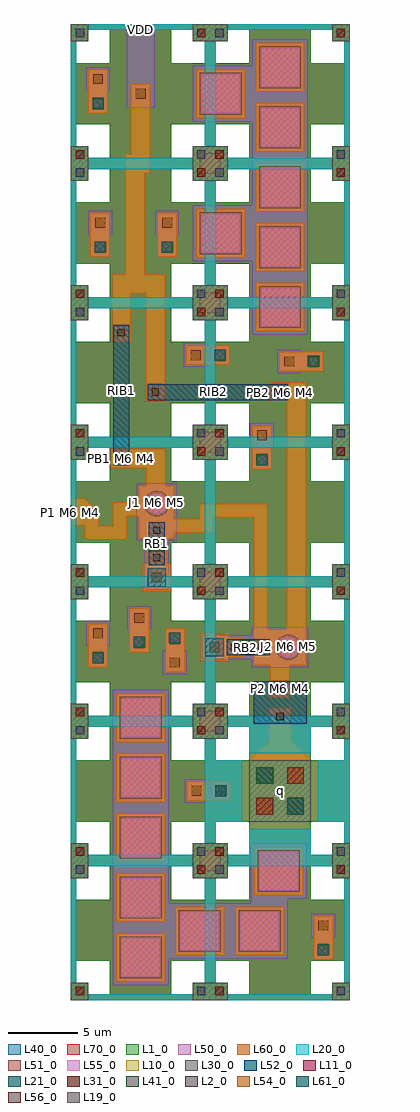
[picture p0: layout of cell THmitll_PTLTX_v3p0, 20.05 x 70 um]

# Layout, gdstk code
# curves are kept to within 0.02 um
from math import pi, radians
import gdstk
lib = gdstk.Library(unit=1e-6, precision=1e-09)
def R(c, l, rs):  # rectangles x0, y0, x1, y1
    for r in rs: c.add(gdstk.rectangle(r[:2], r[2:], *l))
def P(c, l, *ps):  # polygons
    for p in ps: c.add(gdstk.Polygon(p, *l))
L1_0 = (1, 0)
L2_0 = (2, 0)
L10_0 = (10, 0)
L11_0 = (11, 0)
L19_0 = (19, 0)
L20_0 = (20, 0)
L21_0 = (21, 0)
L30_0 = (30, 0)
L31_0 = (31, 0)
L40_0 = (40, 0)
L41_0 = (41, 0)
L50_0 = (50, 0)
L51_0 = (51, 0)
L52_0 = (52, 0)
L54_0 = (54, 0)
L55_0 = (55, 0)
L56_0 = (56, 0)
L60_0 = (60, 0)
L61_0 = (61, 0)
L70_0 = (70, 0)

ls_tr_m7 = lib.new_cell('ls_tr_M7')
P(ls_tr_m7, L70_0, [(0,0),(0,10),(1.25,10),(1.25,8.75),(0.4,8.75),(0.4,1.25),(1.25,1.25),(1.25,0.4),(2.8,0.4),(2.8,2.8),(0.4,2.8),(0.4,7.2),(2.8,7.2),(2.8,9.6),(1.25,9.6),(1.25,10),(7.2,10),(7.2,0.4),(8.75,0.4),(8.75,1.25),(9.6,1.25),(9.6,2.8),(7.2,2.8),(7.2,7.2),(9.6,7.2),(9.6,8.75),(8.75,8.75),(8.75,9.6),(7.2,9.6),(7.2,10),(10,10),(10,0)])

ls_tr_u_m4 = lib.new_cell('ls_tr_u_M4')
P(ls_tr_u_m4, L1_0, [(0,0),(0,10),(1.25,10),(1.25,8.75),(0.4,8.75),(0.4,1.25),(1.25,1.25),(1.25,0.4),(2.8,0.4),(2.8,2.8),(0.4,2.8),(0.4,7.2),(2.8,7.2),(2.8,9.6),(1.25,9.6),(1.25,10),(7.2,10),(7.2,0.4),(8.75,0.4),(8.75,1.25),(9.6,1.25),(9.6,2.8),(7.2,2.8),(7.2,7.2),(9.6,7.2),(9.6,8.75),(8.75,8.75),(8.75,9.6),(7.2,9.6),(7.2,10),(10,10),(10,0)])
R(ls_tr_u_m4, L2_0, [(9.05,0.35,9.65,0.95), (0.35,9.05,0.95,9.65)])
R(ls_tr_u_m4, L10_0, [(0,0,1.25,1.25), (8.75,0,10,1.25), (0,8.75,1.25,10), (8.75,8.75,10,10)])
R(ls_tr_u_m4, L11_0, [(0.35,0.35,0.95,0.95), (9.05,9.05,9.65,9.65)])
P(ls_tr_u_m4, L20_0, [(0,0),(0,10),(1.25,10),(1.25,8.75),(0.4,8.75),(0.4,1.25),(1.25,1.25),(1.25,0.4),(8.75,0.4),(8.75,1.25),(9.6,1.25),(9.6,8.75),(8.75,8.75),(8.75,9.6),(1.25,9.6),(1.25,10),(10,10),(10,0)])
R(ls_tr_u_m4, L21_0, [(9.05,0.35,9.65,0.95), (0.35,9.05,0.95,9.65)])
R(ls_tr_u_m4, L30_0, [(0,0,1.25,1.25), (8.75,0,10,1.25), (0,8.75,1.25,10), (8.75,8.75,10,10)])
R(ls_tr_u_m4, L31_0, [(0.35,0.35,0.95,0.95), (9.05,9.05,9.65,9.65)])
P(ls_tr_u_m4, L40_0, [(0,0),(0,10),(1.25,10),(1.25,8.75),(0.4,8.75),(0.4,1.25),(1.25,1.25),(1.25,0.4),(2.8,0.4),(2.8,2.8),(0.4,2.8),(0.4,7.2),(2.8,7.2),(2.8,9.6),(1.25,9.6),(1.25,10),(7.2,10),(7.2,0.4),(8.75,0.4),(8.75,1.25),(9.6,1.25),(9.6,2.8),(7.2,2.8),(7.2,7.2),(9.6,7.2),(9.6,8.75),(8.75,8.75),(8.75,9.6),(7.2,9.6),(7.2,10),(10,10),(10,0)])
ls_tr_u_m4.add(gdstk.Reference(ls_tr_m7, (0,0)))

ls_tr_ptl_conn = lib.new_cell('ls_tr_PTL_conn')
P(ls_tr_ptl_conn, L1_0, [(0,0),(0,10),(1.25,10),(1.25,8.75),(0.4,8.75),(0.4,1.25),(1.25,1.25),(1.25,0.4),(2.8,0.4),(2.8,2.8),(0.4,2.8),(0.4,7.2),(2.8,7.2),(2.8,9.6),(1.25,9.6),(1.25,10),(7.2,10),(7.2,0.4),(8.75,0.4),(8.75,1.25),(9.6,1.25),(9.6,2.8),(7.2,2.8),(7.2,7.2),(9.6,7.2),(9.6,8.75),(8.75,8.75),(8.75,9.6),(7.2,9.6),(7.2,10),(10,10),(10,0)])
R(ls_tr_ptl_conn, L2_0, [(9.05,0.35,9.65,0.95), (0.35,9.05,0.95,9.65)])
R(ls_tr_ptl_conn, L10_0, [(0,0,1.25,1.25), (8.75,0,10,1.25), (2.8,2.8,7.2,7.2), (0,8.75,1.25,10), (8.75,8.75,10,10)])
R(ls_tr_ptl_conn, L11_0, [(0.35,0.35,0.95,0.95), (3.3,3.3,4.5,4.5), (5.5,5.5,6.7,6.7), (9.05,9.05,9.65,9.65)])
R(ls_tr_ptl_conn, L20_0, [(2.8,2.8,7.2,7.2)])
P(ls_tr_ptl_conn, L20_0, [(0,0),(0,10),(7.2,10),(7.2,7.7),(2.8,7.7),(2.8,9.6),(1.25,9.6),(1.25,8.75),(0.4,8.75),(0.4,7.2),(2.3,7.2),(2.3,2.8),(0.4,2.8),(0.4,1.25),(1.25,1.25),(1.25,0.4),(2.8,0.4),(2.8,2.3),(7.2,2.3),(7.2,0.4),(8.75,0.4),(8.75,1.25),(9.6,1.25),(9.6,2.8),(7.7,2.8),(7.7,7.2),(9.6,7.2),(9.6,8.75),(8.75,8.75),(8.75,9.6),(7.2,9.6),(7.2,10),(10,10),(10,0)])
R(ls_tr_ptl_conn, L21_0, [(9.05,0.35,9.65,0.95), (5.5,3.3,6.7,4.5), (3.3,5.5,4.5,6.7), (0.35,9.05,0.95,9.65)])
R(ls_tr_ptl_conn, L30_0, [(0,0,1.25,1.25), (8.75,0,10,1.25), (2.8,2.8,7.2,7.2), (0,8.75,1.25,10), (8.75,8.75,10,10)])
R(ls_tr_ptl_conn, L31_0, [(0.35,0.35,0.95,0.95), (3.3,3.3,4.5,4.5), (5.5,5.5,6.7,6.7), (9.05,9.05,9.65,9.65)])
R(ls_tr_ptl_conn, L40_0, [(2.8,2.8,7.2,7.2)])
P(ls_tr_ptl_conn, L40_0, [(0,0),(0,10),(7.2,10),(7.2,7.7),(2.8,7.7),(2.8,9.6),(1.25,9.6),(1.25,8.75),(0.4,8.75),(0.4,7.2),(2.3,7.2),(2.3,2.8),(0.4,2.8),(0.4,1.25),(1.25,1.25),(1.25,0.4),(2.8,0.4),(2.8,2.3),(7.2,2.3),(7.2,0.4),(8.75,0.4),(8.75,1.25),(9.6,1.25),(9.6,2.8),(7.7,2.8),(7.7,7.2),(9.6,7.2),(9.6,8.75),(8.75,8.75),(8.75,9.6),(7.2,9.6),(7.2,10),(10,10),(10,0)])
R(ls_tr_ptl_conn, L41_0, [(5.5,3.3,6.7,4.5), (3.3,5.5,4.5,6.7)])
R(ls_tr_ptl_conn, L50_0, [(2.8,2.8,7.2,7.2)])
R(ls_tr_ptl_conn, L54_0, [(3.3,3.3,4.5,4.5), (5.5,5.5,6.7,6.7)])
R(ls_tr_ptl_conn, L60_0, [(2.8,2.8,7.2,7.2)])
P(ls_tr_ptl_conn, L70_0, [(0,0),(0,10),(1.25,10),(1.25,8.75),(0.4,8.75),(0.4,1.25),(1.25,1.25),(1.25,0.4),(2.8,0.4),(2.8,2.8),(0.4,2.8),(0.4,7.2),(2.8,7.2),(2.8,9.6),(1.25,9.6),(1.25,10),(7.2,10),(7.2,0.4),(8.75,0.4),(8.75,1.25),(9.6,1.25),(9.6,2.8),(7.2,2.8),(7.2,7.2),(9.6,7.2),(9.6,8.75),(8.75,8.75),(8.75,9.6),(7.2,9.6),(7.2,10),(10,10),(10,0)])

ls_conn_m5m6 = lib.new_cell('ls_conn_M5M6')
R(ls_conn_m5m6, L50_0, [(0,0,1.7,1.7)])
R(ls_conn_m5m6, L54_0, [(0.5,0.5,1.2,1.2)])
R(ls_conn_m5m6, L60_0, [(0.15,0.15,1.55,1.55)])

ls_res_1p36 = lib.new_cell('ls_res_1p36')
R(ls_res_1p36, L52_0, [(-1.9,0,1.9,3.05)])
R(ls_res_1p36, L56_0, [(-0.26,0.29,0.26,0.81), (-0.26,2.25,0.26,2.77)])
R(ls_res_1p36, L60_0, [(-0.625,-0.1,0.625,1.175), (-0.625,1.875,0.625,3.15)])

ls_conn_m5m6m7 = lib.new_cell('ls_conn_M5M6M7')
R(ls_conn_m5m6m7, L60_0, [(-0.65,-0.65,1.35,1.35)])
R(ls_conn_m5m6m7, L61_0, [(-0.3,-0.3,1,1)])
R(ls_conn_m5m6m7, L70_0, [(-0.65,-0.65,1.35,1.35)])

th_jj_250_sg = lib.new_cell('th_jj_250_sg')
R(th_jj_250_sg, L41_0, [(-0.5,2.4,0.5,3.4)])
R(th_jj_250_sg, L50_0, [(-1.425,-1.425,1.425,2.625), (-0.875,2.625,0.875,6.175)])
P(th_jj_250_sg, L51_0, [(0,-0.91),(-0.18,-0.895),(-0.35,-0.84),(-0.645,-0.645),(-0.84,-0.35),(-0.91,0),(-0.895,0.18),(-0.84,0.35),(-0.645,0.645),(-0.35,0.84),(-0.18,0.895),(0,0.91),(0.18,0.895),(0.35,0.84),(0.645,0.645),(0.84,0.35),(0.895,0.18),(0.91,0),(0.84,-0.35),(0.645,-0.645),(0.35,-0.84),(0.18,-0.895)])
R(th_jj_250_sg, L52_0, [(-0.575,1.35,0.575,4.425)])
R(th_jj_250_sg, L54_0, [(-0.35,4.95,0.35,5.65)])
P(th_jj_250_sg, L55_0, [(0,-0.76),(-0.15,-0.75),(-0.29,-0.7),(-0.54,-0.54),(-0.7,-0.29),(-0.75,-0.15),(-0.76,0),(-0.75,0.15),(-0.7,0.29),(-0.54,0.54),(-0.29,0.7),(-0.15,0.75),(0,0.76),(0.15,0.75),(0.29,0.7),(0.54,0.54),(0.7,0.29),(0.75,0.15),(0.76,0),(0.75,-0.15),(0.7,-0.29),(0.54,-0.54),(0.29,-0.7),(0.15,-0.75)])
R(th_jj_250_sg, L56_0, [(-0.26,1.64,0.26,2.16), (-0.26,3.63,0.26,4.15)])
R(th_jj_250_sg, L60_0, [(-1.275,-1.275,1.275,2.525), (-0.725,3.25,0.725,6.025)])
th_jj_250_sg.add(gdstk.Reference(ls_conn_m5m6m7, (0.35,5.65), rotation=pi))

th_ib_175 = lib.new_cell('th_ib_175')
R(th_ib_175, L52_0, [(-0.575,0,0.575,10.05)])
R(th_ib_175, L56_0, [(-0.26,0.29,0.26,0.81), (-0.26,9.26,0.26,9.78)])
R(th_ib_175, L60_0, [(-0.625,-0.1,0.625,1.175), (-0.625,8.9,0.625,10.15)])

ls_fakejj_3umx3um = lib.new_cell('ls_FakeJJ_3umx3um')
R(ls_fakejj_3umx3um, L40_0, [(-2,-2,2,2)])
R(ls_fakejj_3umx3um, L50_0, [(-2,-2,2,2)])
R(ls_fakejj_3umx3um, L51_0, [(-1.5,-1.5,1.5,1.5)])
R(ls_fakejj_3umx3um, L55_0, [(-1.4,-1.4,1.4,1.4)])
R(ls_fakejj_3umx3um, L60_0, [(-1.75,-1.75,1.75,1.75)])

ls_conn_m4m5m6m7 = lib.new_cell('ls_conn_M4M5M6M7')
R(ls_conn_m4m5m6m7, L40_0, [(0,0,1.4,1.4)])
R(ls_conn_m4m5m6m7, L41_0, [(0.3,0.3,1.1,1.1)])
P(ls_conn_m4m5m6m7, L50_0, [(1.6,-0.15),(1.6,0),(0,0),(0,1.4),(1.6,1.4),(1.6,1.55),(3.3,1.55),(3.3,-0.15)])
R(ls_conn_m4m5m6m7, L54_0, [(2.1,0.35,2.8,1.05)])
R(ls_conn_m4m5m6m7, L60_0, [(0,0,3.15,1.4)])
R(ls_conn_m4m5m6m7, L61_0, [(0.35,0.35,1.05,1.05)])
R(ls_conn_m4m5m6m7, L70_0, [(0,0,1.4,1.4)])

ls_fakejj_1p5x1p5um = lib.new_cell('ls_FakeJJ_1p5x1p5um')
R(ls_fakejj_1p5x1p5um, L40_0, [(-1.25,-1.25,1.25,1.25)])
R(ls_fakejj_1p5x1p5um, L50_0, [(-1.25,-1.25,1.25,1.25)])
R(ls_fakejj_1p5x1p5um, L51_0, [(-0.75,-0.75,0.75,0.75)])
R(ls_fakejj_1p5x1p5um, L55_0, [(-0.65,-0.65,0.65,0.65)])
R(ls_fakejj_1p5x1p5um, L60_0, [(-1,-1,1,1)])

thmitll_ptltx_v3p0 = lib.new_cell('THmitll_PTLTX_v3p0')
R(thmitll_ptltx_v3p0, L19_0, [(14.75,22.05,15.25,22.55), (3.35,38.6,3.9,39.15), (14.75,43.35,15.3,43.85)])
R(thmitll_ptltx_v3p0, L50_0, [(3,1.05,7,22.25), (5.75,2.95,15.55,6.95), (12.9,6.95,15.55,7.75), (13,47.7,17,68.9), (8.75,53,13.45,57), (8.75,63,13.35,67)])
P(thmitll_ptltx_v3p0, L60_0, [(12.8,17.2),(15,19.4),(17.2,17.2)],
  [(1,35),(1,36),(2,35)])
thmitll_ptltx_v3p0.add(gdstk.FlexPath([(15,18.5),(15,20.975)], 1.6, ends="flush", simple_path=True, layer=60, datatype=0))  # L60_0
thmitll_ptltx_v3p0.add(gdstk.FlexPath([(15,24.15),(15,21.675)], 1.4, ends="flush", simple_path=True, layer=60, datatype=0))  # L60_0
thmitll_ptltx_v3p0.add(gdstk.FlexPath([(0,35),(1,35)], 2, ends="flush", simple_path=True, layer=60, datatype=0))  # L60_0
thmitll_ptltx_v3p0.add(gdstk.FlexPath([(1.5,35),(1.5,33.5),(3.5,33.5),(3.5,35.2),(5,35.2)], 1, ends="flush", simple_path=True, layer=60, datatype=0))  # L60_0
thmitll_ptltx_v3p0.add(gdstk.FlexPath([(5,51.35),(3.6,51.35),(3.6,47.2)], 1.4, ends="flush", simple_path=True, layer=60, datatype=0))  # L60_0
thmitll_ptltx_v3p0.add(gdstk.FlexPath([(5,51.35),(6.05,51.35),(6.05,42.95)], 1.4, ends="flush", simple_path=True, layer=60, datatype=0))  # L60_0
thmitll_ptltx_v3p0.add(gdstk.FlexPath([(14.25,43.6),(16.175,43.6),(16.175,26.5)], 1.4, ends="flush", simple_path=True, layer=60, datatype=0))  # L60_0
thmitll_ptltx_v3p0.add(gdstk.FlexPath([(7.3,34),(9.7,34),(9.7,35.1),(13.6,35.1),(13.6,26.5)], 1, ends="flush", simple_path=True, layer=60, datatype=0))  # L60_0
thmitll_ptltx_v3p0.add(gdstk.FlexPath([(2.85,38.85),(6.1,38.85),(6.1,36.8)], 1.4, ends="flush", simple_path=True, layer=60, datatype=0))  # L60_0
thmitll_ptltx_v3p0.add(gdstk.FlexPath([(5,65.7),(5,60),(4.6,60),(4.6,51.35)], 1.4, ends="flush", simple_path=True, layer=60, datatype=0))  # L60_0
thmitll_ptltx_v3p0.add(gdstk.FlexPath([(5,70),(5,64)], 2, ends="flush", simple_path=True, layer=50, datatype=0))  # L50_0
thmitll_ptltx_v3p0.add(gdstk.FlexPath([(0,35.5),(0,34.5)], 0.1, ends="flush", simple_path=True, layer=19, datatype=0))  # L19_0
r = gdstk.Reference(ls_tr_u_m4, (0,0)); r.repetition = gdstk.Repetition(1, 7, v1=(0,0), v2=(0,10)); thmitll_ptltx_v3p0.add(r)
r = gdstk.Reference(ls_tr_u_m4, (10,20)); r.repetition = gdstk.Repetition(1, 5, v1=(0,0), v2=(0,10)); thmitll_ptltx_v3p0.add(r)
thmitll_ptltx_v3p0.add(gdstk.Reference(ls_tr_u_m4, (10,0)))
thmitll_ptltx_v3p0.add(gdstk.Reference(ls_tr_ptl_conn, (20,20), rotation=pi))
thmitll_ptltx_v3p0.add(gdstk.Reference(ls_conn_m5m6, (5.85,65.85), rotation=pi))
thmitll_ptltx_v3p0.add(gdstk.Reference(ls_res_1p36, (15,22.85), rotation=pi))
thmitll_ptltx_v3p0.add(gdstk.Reference(th_jj_250_sg, (6.15,35.6), rotation=pi))
thmitll_ptltx_v3p0.add(gdstk.Reference(th_ib_175, (3.6,48.4), rotation=pi))
thmitll_ptltx_v3p0.add(gdstk.Reference(th_ib_175, (5.5,43.6), rotation=3*pi/2))
thmitll_ptltx_v3p0.add(gdstk.Reference(th_jj_250_sg, (15.6,25.3), rotation=pi/2))
r = gdstk.Reference(ls_fakejj_3umx3um, (5,3.05), rotation=pi/2); r.repetition = gdstk.Repetition(5, 1, v1=(0,4.3), v2=(0,0)); thmitll_ptltx_v3p0.add(r)
r = gdstk.Reference(ls_fakejj_3umx3um, (15,49.7), rotation=pi/2); r.repetition = gdstk.Repetition(5, 1, v1=(0,4.3), v2=(0,0)); thmitll_ptltx_v3p0.add(r)
r = gdstk.Reference(ls_fakejj_3umx3um, (13.55,4.95), rotation=pi/2); r.repetition = gdstk.Repetition(1, 2, v1=(0,0), v2=(-4.3,0)); thmitll_ptltx_v3p0.add(r)
thmitll_ptltx_v3p0.add(gdstk.Reference(ls_fakejj_3umx3um, (14.9,9.25), rotation=pi/2))
thmitll_ptltx_v3p0.add(gdstk.Reference(ls_conn_m4m5m6m7, (18.8,2.9), rotation=pi/2))
thmitll_ptltx_v3p0.add(gdstk.Reference(ls_conn_m4m5m6m7, (11.45,15.7), rotation=pi))
thmitll_ptltx_v3p0.add(gdstk.Reference(ls_conn_m4m5m6m7, (2.65,23.85), rotation=pi/2))
thmitll_ptltx_v3p0.add(gdstk.Reference(ls_conn_m4m5m6m7, (5.6,24.95), rotation=pi/2))
thmitll_ptltx_v3p0.add(gdstk.Reference(ls_conn_m4m5m6m7, (6.75,26.65), rotation=3*pi/2))
thmitll_ptltx_v3p0.add(gdstk.Reference(ls_conn_m4m5m6m7, (14.4,38.05), rotation=pi/2))
thmitll_ptltx_v3p0.add(gdstk.Reference(ls_conn_m4m5m6m7, (11.4,46.95), rotation=pi))
thmitll_ptltx_v3p0.add(gdstk.Reference(ls_conn_m4m5m6m7, (18.1,46.5), rotation=pi))
thmitll_ptltx_v3p0.add(gdstk.Reference(ls_conn_m4m5m6m7, (2.65,63.6), rotation=pi/2))
thmitll_ptltx_v3p0.add(gdstk.Reference(ls_conn_m4m5m6m7, (2.8,53.3), rotation=pi/2))
thmitll_ptltx_v3p0.add(gdstk.Reference(ls_fakejj_3umx3um, (10.75,65), rotation=pi/2))
thmitll_ptltx_v3p0.add(gdstk.Reference(ls_fakejj_3umx3um, (10.75,55), rotation=pi/2))
thmitll_ptltx_v3p0.add(gdstk.Reference(ls_conn_m4m5m6m7, (7.6,53.3), rotation=pi/2))
thmitll_ptltx_v3p0.add(gdstk.Reference(ls_fakejj_1p5x1p5um, (10,10), rotation=pi))
thmitll_ptltx_v3p0.add(gdstk.Reference(ls_fakejj_1p5x1p5um, (10,20), rotation=pi))
thmitll_ptltx_v3p0.add(gdstk.Reference(ls_fakejj_1p5x1p5um, (10,30), rotation=pi))
thmitll_ptltx_v3p0.add(gdstk.Reference(ls_fakejj_1p5x1p5um, (10,40), rotation=pi))
thmitll_ptltx_v3p0.add(gdstk.Reference(ls_fakejj_1p5x1p5um, (10,50), rotation=pi))
thmitll_ptltx_v3p0.add(gdstk.Reference(ls_fakejj_1p5x1p5um, (10,60), rotation=pi))
thmitll_ptltx_v3p0.add(gdstk.Label('VDD', (5,69.6), layer=50, texttype=0))
thmitll_ptltx_v3p0.add(gdstk.Label('GND', (3.55,69.4), layer=40, texttype=0))
thmitll_ptltx_v3p0.add(gdstk.Label('P2 M6 M4', (15,22.35), layer=182, texttype=0))
thmitll_ptltx_v3p0.add(gdstk.Label('P1 M6 M4', (0,35), layer=182, texttype=0))
thmitll_ptltx_v3p0.add(gdstk.Label('J1 M6 M5', (6.15,35.65), layer=182, texttype=0))
thmitll_ptltx_v3p0.add(gdstk.Label('J2 M6 M5', (15.6,25.35), layer=182, texttype=0))
thmitll_ptltx_v3p0.add(gdstk.Label('PB1 M6 M4', (3.6,38.85), layer=182, texttype=0))
thmitll_ptltx_v3p0.add(gdstk.Label('PB2 M6 M4', (15.05,43.6), layer=182, texttype=0))
thmitll_ptltx_v3p0.add(gdstk.Label('RIB1', (3.65,43.7), layer=52, texttype=11))
thmitll_ptltx_v3p0.add(gdstk.Label('RIB2', (10.25,43.65), layer=52, texttype=11))
thmitll_ptltx_v3p0.add(gdstk.Label('RB2', (12.55,25.3), layer=52, texttype=11))
thmitll_ptltx_v3p0.add(gdstk.Label('RB1', (6.15,32.75), layer=52, texttype=11))
thmitll_ptltx_v3p0.add(gdstk.Label('RD', (15.05,21.35), layer=52, texttype=11))
thmitll_ptltx_v3p0.add(gdstk.Label('q', (15,15), layer=60, texttype=5))
thmitll_ptltx_v3p0.add(gdstk.Label('a', (0,35), layer=60, texttype=5))

lib.write_gds('THmitll_PTLTX_v3p0.gds')
